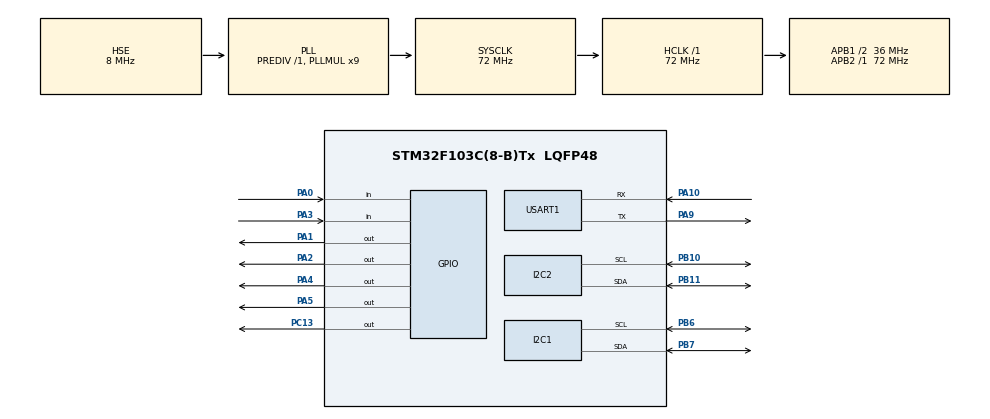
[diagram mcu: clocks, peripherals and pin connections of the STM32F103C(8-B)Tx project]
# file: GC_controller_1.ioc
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I2C1.I2C_Mode=I2C_Fast
I2C2.I2C_Mode=I2C_Fast
Mcu.Family=STM32F1
Mcu.Name=STM32F103C(8-B)Tx
Mcu.Package=LQFP48
NVIC.PriorityGroup=NVIC_PRIORITYGROUP_4
NVIC.USART1_IRQn=true\:0\:0\:false\:false\:true\:true\:true\:true
PA0-WKUP.Signal=GPIO_Input
PA1.Signal=GPIO_Output
PA10.Mode=Asynchronous
PA10.Signal=USART1_RX
PA13.Mode=Serial_Wire
PA13.Signal=SYS_JTMS-SWDIO
PA14.Mode=Serial_Wire
PA14.Signal=SYS_JTCK-SWCLK
PA2.Signal=GPIO_Output
PA3.Signal=GPIO_Input
PA4.Signal=GPIO_Output
PA5.Signal=GPIO_Output
PA9.Mode=Asynchronous
PA9.Signal=USART1_TX
PB10.Mode=I2C
PB10.Signal=I2C2_SCL
PB11.Mode=I2C
PB11.Signal=I2C2_SDA
PB6.Mode=I2C
PB6.Signal=I2C1_SCL
PB7.Mode=I2C
PB7.Signal=I2C1_SDA
PC13-TAMPER-RTC.Signal=GPIO_Output
PD0-OSC_IN.Mode=HSE-External-Oscillator
PD0-OSC_IN.Signal=RCC_OSC_IN
PD1-OSC_OUT.Mode=HSE-External-Oscillator
PD1-OSC_OUT.Signal=RCC_OSC_OUT
ProjectManager.HeapSize=0x200
ProjectManager.StackSize=0x400
ProjectManager.TargetToolchain=MDK-ARM V5.32
RCC.AHBFreq_Value=72000000
RCC.APB1CLKDivider=RCC_HCLK_DIV2
RCC.APB1Freq_Value=36000000
RCC.APB1TimFreq_Value=72000000
RCC.APB2Freq_Value=72000000
RCC.APB2TimFreq_Value=72000000
RCC.HCLKFreq_Value=72000000
RCC.PLLMUL=RCC_PLL_MUL9
RCC.PLLSourceVirtual=RCC_PLLSOURCE_HSE
RCC.SYSCLKFreq_VALUE=72000000
RCC.SYSCLKSource=RCC_SYSCLKSOURCE_PLLCLK
RCC.USBFreq_Value=72000000
USART1.VirtualMode=VM_ASYNC
board=custom

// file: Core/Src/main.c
/* USER CODE BEGIN Header */
/**
  ******************************************************************************
  * @file           : main.c
  * @brief          : Main program body
  ******************************************************************************
  * @attention
  *
  * Copyright (c) 2024 STMicroelectronics.
  * All rights reserved.
  *
  * This software is licensed under terms that can be found in the LICENSE file
  * in the root directory of this software component.
  * If no LICENSE file comes with this software, it is provided AS-IS.
  *
  ******************************************************************************
  */
/* USER CODE END Header */
#include "main.h"
#include "i2c.h"
#include "usart.h"
#include "gpio.h"

/* USER CODE BEGIN Includes */
#include "driveas5600.h"
#include "NRF24L01.h"
/* USER CODE END Includes */

/* USER CODE BEGIN PV */
float angle1;
float angle2;
float angle3;
float angle4;
uint8_t uart_rx_buffer[1000];
uint8_t uart_tx_buffer[1000];
float debug;
float debug2;
uint8_t TxData[32]={0,0,0,0,0,0,0,0};
float data_to_c[4];
/* USER CODE END PV */

void SystemClock_Config(void);

int main(void)
{

  /* MCU Configuration--------------------------------------------------------*/

  /* Reset of all peripherals, Initializes the Flash interface and the Systick. */
  HAL_Init();

  /* Configure the system clock */
  SystemClock_Config();

  /* Initialize all configured peripherals */
  MX_GPIO_Init();
  MX_I2C1_Init();
  MX_I2C2_Init();
  MX_USART1_UART_Init();
  /* USER CODE BEGIN 2 */
HAL_UART_Receive_IT(&huart1,uart_rx_buffer,10);
Init_NRF24L01();
  if(NRF24L01_Check())
  {
    debug=7;
  }
  TX_Mode();
  /* USER CODE END 2 */

  /* Infinite loop */
  /* USER CODE BEGIN WHILE */
  while (1)
  {
    angle1=Programe_Run(hi2c2);
    angle2=Programe_Run(hi2c1);
    uart_tx_buffer[0]=0xab;
    for(int i=0;i<4;i++)
    {
      uart_tx_buffer[1+i]=*((char*)(&angle1)+i);
    }
    for(int i=0;i<4;i++)
    {
      uart_tx_buffer[5+i]=*((char*)(&angle2)+i);
    }
    HAL_UART_Transmit(&huart1,uart_tx_buffer, 10, 10);

if(uart_rx_buffer[0]==0xab)
{
  for(int i=0;i<4;i++)
    {
      *((char*)(&angle3)+i)=uart_rx_buffer[i+1];
    }
    for(int i=0;i<4;i++)
    {
      *((char*)(&angle4)+i)=uart_rx_buffer[i+5];
    }
    HAL_GPIO_WritePin(GPIOC,GPIO_PIN_13,GPIO_PIN_RESET);
}
else
{
  HAL_GPIO_WritePin(GPIOC,GPIO_PIN_13,GPIO_PIN_SET);
}
    HAL_Delay(5);

data_to_c[0]=angle1-260.0f;
data_to_c[1]=angle2-40.7f;
data_to_c[2]=angle3-52.9f;
data_to_c[3]=angle4-113.7f;

if(data_to_c[0]<-180)
{
  data_to_c[0]+=360;
}
if(data_to_c[1]>180)
{
  data_to_c[1]-=360;
}

if(data_to_c[2]>180)
{
  data_to_c[2]-=360;
}
if(data_to_c[3]>180)
{
  data_to_c[3]-=360;
}
data_to_c[1]=-data_to_c[1];
TxData[0]=0xab;
for(int i=0;i<4;i++)
{
  for(int j=0;j<4;j++)
  {
    TxData[i*4+1+j]=*((char*)(&(data_to_c[i]))+j);
  }
}
TxData[17]=0xcd;
if(NRF24L01_TxPacket(TxData)==TX_OK)
    {
      debug2=666;
    }
    /* USER CODE END WHILE */

  }
}

void SystemClock_Config(void)
{
  RCC_OscInitTypeDef RCC_OscInitStruct = {0};
  RCC_ClkInitTypeDef RCC_ClkInitStruct = {0};

  /** Initializes the RCC Oscillators according to the specified parameters
  * in the RCC_OscInitTypeDef structure.
  */
  RCC_OscInitStruct.OscillatorType = RCC_OSCILLATORTYPE_HSE;
  RCC_OscInitStruct.HSEState = RCC_HSE_ON;
  RCC_OscInitStruct.HSEPredivValue = RCC_HSE_PREDIV_DIV1;
  RCC_OscInitStruct.HSIState = RCC_HSI_ON;
  RCC_OscInitStruct.PLL.PLLState = RCC_PLL_ON;
  RCC_OscInitStruct.PLL.PLLSource = RCC_PLLSOURCE_HSE;
  RCC_OscInitStruct.PLL.PLLMUL = RCC_PLL_MUL9;
  if (HAL_RCC_OscConfig(&RCC_OscInitStruct) != HAL_OK)
  {
    Error_Handler();
  }

  /** Initializes the CPU, AHB and APB buses clocks
  */
  RCC_ClkInitStruct.ClockType = RCC_CLOCKTYPE_HCLK|RCC_CLOCKTYPE_SYSCLK
                              |RCC_CLOCKTYPE_PCLK1|RCC_CLOCKTYPE_PCLK2;
  RCC_ClkInitStruct.SYSCLKSource = RCC_SYSCLKSOURCE_PLLCLK;
  RCC_ClkInitStruct.AHBCLKDivider = RCC_SYSCLK_DIV1;
  RCC_ClkInitStruct.APB1CLKDivider = RCC_HCLK_DIV2;
  RCC_ClkInitStruct.APB2CLKDivider = RCC_HCLK_DIV1;

  if (HAL_RCC_ClockConfig(&RCC_ClkInitStruct, FLASH_LATENCY_2) != HAL_OK)
  {
    Error_Handler();
  }
}

void Error_Handler(void)
{
  __disable_irq();
  while (1)
  {
  }
}
